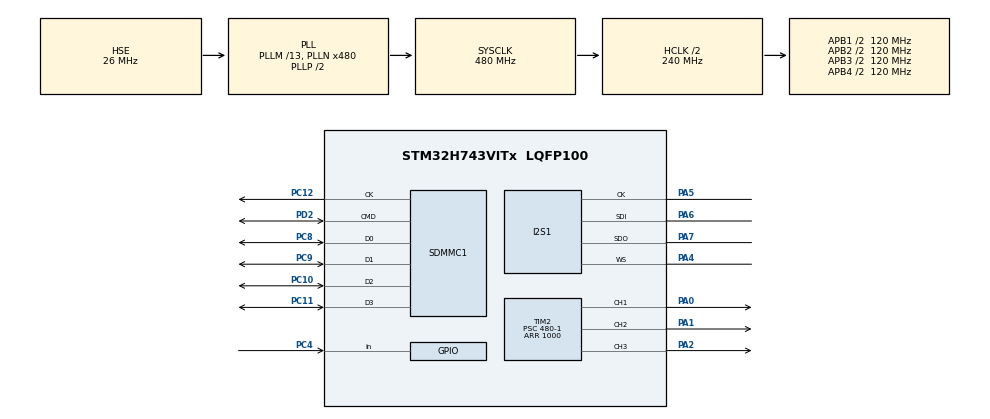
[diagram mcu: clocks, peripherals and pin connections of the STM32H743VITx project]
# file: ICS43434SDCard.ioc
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CORTEX_M7.default_mode_Activation=1
Dma.Request0=SPI1_RX
Dma.SPI1_RX.0.Direction=DMA_PERIPH_TO_MEMORY
Dma.SPI1_RX.0.EventEnable=DISABLE
Dma.SPI1_RX.0.FIFOMode=DMA_FIFOMODE_DISABLE
Dma.SPI1_RX.0.Instance=DMA1_Stream0
Dma.SPI1_RX.0.MemDataAlignment=DMA_MDATAALIGN_HALFWORD
Dma.SPI1_RX.0.MemInc=DMA_MINC_ENABLE
Dma.SPI1_RX.0.Mode=DMA_CIRCULAR
Dma.SPI1_RX.0.PeriphDataAlignment=DMA_PDATAALIGN_HALFWORD
Dma.SPI1_RX.0.PeriphInc=DMA_PINC_DISABLE
Dma.SPI1_RX.0.Polarity=HAL_DMAMUX_REQ_GEN_RISING
Dma.SPI1_RX.0.Priority=DMA_PRIORITY_LOW
Dma.SPI1_RX.0.RequestNumber=1
Dma.SPI1_RX.0.SignalID=NONE
Dma.SPI1_RX.0.SyncEnable=DISABLE
Dma.SPI1_RX.0.SyncPolarity=HAL_DMAMUX_SYNC_NO_EVENT
Dma.SPI1_RX.0.SyncRequestNumber=1
Dma.SPI1_RX.0.SyncSignalID=NONE
FATFS.BSP.number=1
FATFS.USE_DMA_CODE_SD=1
FATFS0.BSP.STBoard=false
FATFS0.BSP.api=Unknown
FATFS0.BSP.instance=PC4
FATFS0.BSP.ip=GPIO
FATFS0.BSP.mode=Input
FATFS0.BSP.name=Detect_SDIO
FATFS0.BSP.solution=PC4
I2S1.AudioFreq=I2S_AUDIOFREQ_48K
I2S1.ErrorAudioFreq=0.8 %
I2S1.Instance=SPI$Index
I2S1.RealAudioFreq=48.387 KHz
Mcu.Family=STM32H7
Mcu.Name=STM32H743VITx
Mcu.Package=LQFP100
NVIC.DMA1_Stream0_IRQn=true\:0\:0\:false\:false\:true\:false\:true\:true
NVIC.PriorityGroup=NVIC_PRIORITYGROUP_4
NVIC.SDMMC1_IRQn=true\:0\:0\:false\:false\:true\:true\:true\:true
PA0.Signal=S_TIM2_CH1_ETR
PA1.Signal=S_TIM2_CH2
PA2.Signal=S_TIM2_CH3
PA4.Mode=Full_Duplex_Master
PA4.Signal=I2S1_WS
PA5.Mode=Full_Duplex_Master
PA5.Signal=I2S1_CK
PA6.Mode=Full_Duplex_Master
PA6.Signal=I2S1_SDI
PA7.Mode=Full_Duplex_Master
PA7.Signal=I2S1_SDO
PC10.GPIO_PuPd=GPIO_PULLUP
PC10.GPIO_Speed_High_Default=GPIO_SPEED_FREQ_LOW
PC10.Mode=SD_4_bits_Wide_bus
PC10.Signal=SDMMC1_D2
PC11.GPIO_PuPd=GPIO_PULLUP
PC11.GPIO_Speed_High_Default=GPIO_SPEED_FREQ_LOW
PC11.Mode=SD_4_bits_Wide_bus
PC11.Signal=SDMMC1_D3
PC12.GPIO_Speed_High_Default=GPIO_SPEED_FREQ_LOW
PC12.Mode=SD_4_bits_Wide_bus
PC12.Signal=SDMMC1_CK
PC4.Signal=GPIO_Input
PC8.GPIO_PuPd=GPIO_PULLUP
PC8.GPIO_Speed_High_Default=GPIO_SPEED_FREQ_LOW
PC8.Mode=SD_4_bits_Wide_bus
PC8.Signal=SDMMC1_D0
PC9.GPIO_PuPd=GPIO_PULLUP
PC9.GPIO_Speed_High_Default=GPIO_SPEED_FREQ_LOW
PC9.Mode=SD_4_bits_Wide_bus
PC9.Signal=SDMMC1_D1
PD2.GPIO_PuPd=GPIO_PULLUP
PD2.GPIO_Speed_High_Default=GPIO_SPEED_FREQ_LOW
PD2.Mode=SD_4_bits_Wide_bus
PD2.Signal=SDMMC1_CMD
PH0-OSC_IN\ (PH0).Mode=HSE-External-Clock-Source
PH0-OSC_IN\ (PH0).Signal=RCC_OSC_IN
ProjectManager.HeapSize=0x200
ProjectManager.StackSize=0x400
ProjectManager.TargetToolchain=STM32CubeIDE
RCC.ADCFreq_Value=480000000
RCC.APB1Freq_Value=120000000
RCC.APB2Freq_Value=120000000
RCC.APB3Freq_Value=120000000
RCC.APB4Freq_Value=120000000
RCC.CortexFreq_Value=480000000
RCC.D1PPRE=RCC_APB3_DIV2
RCC.D2PPRE1=RCC_APB1_DIV2
RCC.D2PPRE2=RCC_APB2_DIV2
RCC.D3PPRE=RCC_APB4_DIV2
RCC.DIVM1=13
RCC.DIVM2=13
RCC.DIVN1=480
RCC.DIVN2=480
RCC.DIVQ1=20
RCC.HCLKFreq_Value=240000000
RCC.HPRE=RCC_HCLK_DIV2
RCC.HSE_VALUE=26000000
RCC.PLL2FRACN=0
RCC.PLL3FRACN=0
RCC.PLLFRACN=0
RCC.PLLSourceVirtual=RCC_PLLSOURCE_HSE
RCC.SYSCLKFreq_VALUE=480000000
RCC.SYSCLKSource=RCC_SYSCLKSOURCE_PLLCLK
RCC.USBFreq_Value=48000000
SDMMC1.ClockDiv=2
SH.S_TIM2_CH1_ETR.0=TIM2_CH1,PWM Generation1 CH1
SH.S_TIM2_CH2.0=TIM2_CH2,PWM Generation2 CH2
SH.S_TIM2_CH3.0=TIM2_CH3,PWM Generation3 CH3
TIM2.Channel-PWM\ Generation1\ CH1=TIM_CHANNEL_1
TIM2.Channel-PWM\ Generation2\ CH2=TIM_CHANNEL_2
TIM2.Channel-PWM\ Generation3\ CH3=TIM_CHANNEL_3
TIM2.Period=1000
TIM2.Prescaler=480-1
VP_FATFS_VS_SDIO.Mode=SDIO
VP_MEMORYMAP_VS_MEMORYMAP.Mode=CurAppReg
board=custom

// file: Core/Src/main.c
/* USER CODE BEGIN Header */
/**
  ******************************************************************************
  * @file           : main.c
  * @brief          : Main program body
  ******************************************************************************
  * @attention
  *
  * Copyright (c) 2025 STMicroelectronics.
  * All rights reserved.
  *
  * This software is licensed under terms that can be found in the LICENSE file
  * in the root directory of this software component.
  * If no LICENSE file comes with this software, it is provided AS-IS.
  *
  ******************************************************************************
  */
/* USER CODE END Header */
#include "main.h"
#include "fatfs.h"
#include <string.h>

I2S_HandleTypeDef hi2s1;
DMA_HandleTypeDef hdma_spi1_rx;

SD_HandleTypeDef hsd1;

TIM_HandleTypeDef htim2;

/* USER CODE BEGIN PV */
#define AUDIO_BUFFER_SIZE 512
int16_t audio_buffer[AUDIO_BUFFER_SIZE];

FATFS fs;
FIL file;
UINT bytesWritten;
char filename[] = "record.raw";

uint32_t audio_level = 0;

extern FATFS SDFatFS;     /* File system object */
extern FIL SDFile;        /* File object */
FRESULT res;       /* FatFs function result code */
UINT byteswritten, bytesread; /* File write/read counts */
uint8_t wtext[] = "STM32 FATFS works great!"; /* File write buffer */
uint8_t rtext[_MAX_SS]; /* File read buffer */
/* USER CODE END PV */

void SystemClock_Config(void);
static void MPU_Config(void);
static void MX_GPIO_Init(void);
static void MX_DMA_Init(void);
static void MX_I2S1_Init(void);
static void MX_SDMMC1_SD_Init(void);
static void MX_TIM2_Init(void);

int main(void)
{

  /* MPU Configuration--------------------------------------------------------*/
  MPU_Config();

  /* MCU Configuration--------------------------------------------------------*/

  /* Reset of all peripherals, Initializes the Flash interface and the Systick. */
  HAL_Init();

  /* Configure the system clock */
  SystemClock_Config();

  /* Initialize all configured peripherals */
  MX_GPIO_Init();
  MX_DMA_Init();
  MX_I2S1_Init();
  MX_SDMMC1_SD_Init();
  MX_TIM2_Init();
  MX_FATFS_Init();
  /* USER CODE BEGIN 2 */
  // Khởi động LED PWM
  HAL_TIM_PWM_Start(&htim2, TIM_CHANNEL_1);
  HAL_TIM_PWM_Start(&htim2, TIM_CHANNEL_2);
  HAL_TIM_PWM_Start(&htim2, TIM_CHANNEL_3);

  // Khởi động DMA nhận tín hiệu I2S từ ICS-43434
  if (HAL_I2S_Receive_DMA(&hi2s1, (uint16_t *)audio_buffer, AUDIO_BUFFER_SIZE) != HAL_OK)
  {
      Error_Handler();
  }

  /* --- Kiểm tra SD Card và FATFS --- */
  if(f_mount(&SDFatFS, (TCHAR const*)SDPath, 0) != FR_OK)
  {
      Error_Handler(); // Không mount được thẻ
  }
  else
  {
      // Tạo hệ thống file nếu chưa có
      if(f_mkfs((TCHAR const*)SDPath, FM_ANY, 0, rtext, sizeof(rtext)) != FR_OK)
      {
          Error_Handler();
      }
      else
      {
          // Tạo file mới để ghi
          if(f_open(&SDFile, "STM32.TXT", FA_CREATE_ALWAYS | FA_WRITE) != FR_OK)
          {
              Error_Handler();
          }
          else
          {
              // Ghi dữ liệu test vào file
              res = f_write(&SDFile, wtext, strlen((char *)wtext), (void *)&byteswritten);
              if((byteswritten == 0) || (res != FR_OK))
              {
                  Error_Handler();
              }
              else
              {
                  f_close(&SDFile); // Đóng file
              }
          }
      }
  }
  // Dỡ mount thẻ
  f_mount(&SDFatFS, (TCHAR const*)NULL, 0);
  /* USER CODE END 2 */

  /* Infinite loop */
  /* USER CODE BEGIN WHILE */
  /* USER CODE BEGIN WHILE */
  while (1)
  {
      // ---- Đổi kênh SEL ----
      static uint32_t last_toggle_time = 0;
      static uint8_t sel_state = 0;
      if (HAL_GetTick() - last_toggle_time > 500) // đổi kênh mỗi 500 ms
      {
          sel_state = !sel_state;
          HAL_GPIO_WritePin(GPIOA, GPIO_PIN_7, sel_state ? GPIO_PIN_SET : GPIO_PIN_RESET);
          last_toggle_time = HAL_GetTick();
      }

      // ---- Tính mức âm thanh ----
      uint64_t sum = 0;
      for (int i = 0; i < AUDIO_BUFFER_SIZE; i++)
          sum += abs(audio_buffer[i]);
      audio_level = sum / AUDIO_BUFFER_SIZE;

      if (audio_level > 1000) audio_level = 1000;

      // ---- LED RGB theo mức âm ----
      if (audio_level < 200)
      {
          __HAL_TIM_SET_COMPARE(&htim2, TIM_CHANNEL_1, 0);
          __HAL_TIM_SET_COMPARE(&htim2, TIM_CHANNEL_2, 0);
          __HAL_TIM_SET_COMPARE(&htim2, TIM_CHANNEL_3, audio_level);
      }
      else if (audio_level < 600)
      {
          __HAL_TIM_SET_COMPARE(&htim2, TIM_CHANNEL_1, audio_level / 2);
          __HAL_TIM_SET_COMPARE(&htim2, TIM_CHANNEL_2, 0);
          __HAL_TIM_SET_COMPARE(&htim2, TIM_CHANNEL_3, audio_level / 2);
      }
      else
      {
          __HAL_TIM_SET_COMPARE(&htim2, TIM_CHANNEL_1, audio_level);
          __HAL_TIM_SET_COMPARE(&htim2, TIM_CHANNEL_2, 0);
          __HAL_TIM_SET_COMPARE(&htim2, TIM_CHANNEL_3, 0);
      }

      HAL_Delay(50);

    /* USER CODE END WHILE */
  }
}

void SystemClock_Config(void)
{
  RCC_OscInitTypeDef RCC_OscInitStruct = {0};
  RCC_ClkInitTypeDef RCC_ClkInitStruct = {0};

  /** Supply configuration update enable
  */
  HAL_PWREx_ConfigSupply(PWR_LDO_SUPPLY);

  /** Configure the main internal regulator output voltage
  */
  __HAL_PWR_VOLTAGESCALING_CONFIG(PWR_REGULATOR_VOLTAGE_SCALE0);

  while(!__HAL_PWR_GET_FLAG(PWR_FLAG_VOSRDY)) {}

  /** Initializes the RCC Oscillators according to the specified parameters
  * in the RCC_OscInitTypeDef structure.
  */
  RCC_OscInitStruct.OscillatorType = RCC_OSCILLATORTYPE_HSE;
  RCC_OscInitStruct.HSEState = RCC_HSE_BYPASS;
  RCC_OscInitStruct.PLL.PLLState = RCC_PLL_ON;
  RCC_OscInitStruct.PLL.PLLSource = RCC_PLLSOURCE_HSE;
  RCC_OscInitStruct.PLL.PLLM = 13;
  RCC_OscInitStruct.PLL.PLLN = 480;
  RCC_OscInitStruct.PLL.PLLP = 2;
  RCC_OscInitStruct.PLL.PLLQ = 20;
  RCC_OscInitStruct.PLL.PLLR = 2;
  RCC_OscInitStruct.PLL.PLLRGE = RCC_PLL1VCIRANGE_1;
  RCC_OscInitStruct.PLL.PLLVCOSEL = RCC_PLL1VCOWIDE;
  RCC_OscInitStruct.PLL.PLLFRACN = 0;
  if (HAL_RCC_OscConfig(&RCC_OscInitStruct) != HAL_OK)
  {
    Error_Handler();
  }

  /** Initializes the CPU, AHB and APB buses clocks
  */
  RCC_ClkInitStruct.ClockType = RCC_CLOCKTYPE_HCLK|RCC_CLOCKTYPE_SYSCLK
                              |RCC_CLOCKTYPE_PCLK1|RCC_CLOCKTYPE_PCLK2
                              |RCC_CLOCKTYPE_D3PCLK1|RCC_CLOCKTYPE_D1PCLK1;
  RCC_ClkInitStruct.SYSCLKSource = RCC_SYSCLKSOURCE_PLLCLK;
  RCC_ClkInitStruct.SYSCLKDivider = RCC_SYSCLK_DIV1;
  RCC_ClkInitStruct.AHBCLKDivider = RCC_HCLK_DIV2;
  RCC_ClkInitStruct.APB3CLKDivider = RCC_APB3_DIV2;
  RCC_ClkInitStruct.APB1CLKDivider = RCC_APB1_DIV2;
  RCC_ClkInitStruct.APB2CLKDivider = RCC_APB2_DIV2;
  RCC_ClkInitStruct.APB4CLKDivider = RCC_APB4_DIV2;

  if (HAL_RCC_ClockConfig(&RCC_ClkInitStruct, FLASH_LATENCY_4) != HAL_OK)
  {
    Error_Handler();
  }
}

static void MX_I2S1_Init(void)
{

  hi2s1.Instance = SPI1;
  hi2s1.Init.Mode = I2S_MODE_MASTER_FULLDUPLEX;
  hi2s1.Init.Standard = I2S_STANDARD_PHILIPS;
  hi2s1.Init.DataFormat = I2S_DATAFORMAT_16B;
  hi2s1.Init.MCLKOutput = I2S_MCLKOUTPUT_DISABLE;
  hi2s1.Init.AudioFreq = I2S_AUDIOFREQ_48K;
  hi2s1.Init.CPOL = I2S_CPOL_LOW;
  hi2s1.Init.FirstBit = I2S_FIRSTBIT_MSB;
  hi2s1.Init.WSInversion = I2S_WS_INVERSION_DISABLE;
  hi2s1.Init.Data24BitAlignment = I2S_DATA_24BIT_ALIGNMENT_RIGHT;
  hi2s1.Init.MasterKeepIOState = I2S_MASTER_KEEP_IO_STATE_DISABLE;
  if (HAL_I2S_Init(&hi2s1) != HAL_OK)
  {
    Error_Handler();
  }

}

static void MX_SDMMC1_SD_Init(void)
{

  hsd1.Instance = SDMMC1;
  hsd1.Init.ClockEdge = SDMMC_CLOCK_EDGE_RISING;
  hsd1.Init.ClockPowerSave = SDMMC_CLOCK_POWER_SAVE_DISABLE;
  hsd1.Init.BusWide = SDMMC_BUS_WIDE_4B;
  hsd1.Init.HardwareFlowControl = SDMMC_HARDWARE_FLOW_CONTROL_DISABLE;
  hsd1.Init.ClockDiv = 2;

}

static void MX_TIM2_Init(void)
{

  TIM_MasterConfigTypeDef sMasterConfig = {0};
  TIM_OC_InitTypeDef sConfigOC = {0};

  htim2.Instance = TIM2;
  htim2.Init.Prescaler = 480-1;
  htim2.Init.CounterMode = TIM_COUNTERMODE_UP;
  htim2.Init.Period = 1000;
  htim2.Init.ClockDivision = TIM_CLOCKDIVISION_DIV1;
  htim2.Init.AutoReloadPreload = TIM_AUTORELOAD_PRELOAD_DISABLE;
  if (HAL_TIM_PWM_Init(&htim2) != HAL_OK)
  {
    Error_Handler();
  }
  sMasterConfig.MasterOutputTrigger = TIM_TRGO_RESET;
  sMasterConfig.MasterSlaveMode = TIM_MASTERSLAVEMODE_DISABLE;
  if (HAL_TIMEx_MasterConfigSynchronization(&htim2, &sMasterConfig) != HAL_OK)
  {
    Error_Handler();
  }
  sConfigOC.OCMode = TIM_OCMODE_PWM1;
  sConfigOC.Pulse = 0;
  sConfigOC.OCPolarity = TIM_OCPOLARITY_HIGH;
  sConfigOC.OCFastMode = TIM_OCFAST_DISABLE;
  if (HAL_TIM_PWM_ConfigChannel(&htim2, &sConfigOC, TIM_CHANNEL_1) != HAL_OK)
  {
    Error_Handler();
  }
  if (HAL_TIM_PWM_ConfigChannel(&htim2, &sConfigOC, TIM_CHANNEL_2) != HAL_OK)
  {
    Error_Handler();
  }
  if (HAL_TIM_PWM_ConfigChannel(&htim2, &sConfigOC, TIM_CHANNEL_3) != HAL_OK)
  {
    Error_Handler();
  }
  HAL_TIM_MspPostInit(&htim2);

}

static void MX_DMA_Init(void)
{

  /* DMA controller clock enable */
  __HAL_RCC_DMA1_CLK_ENABLE();

  /* DMA interrupt init */
  /* DMA1_Stream0_IRQn interrupt configuration */
  HAL_NVIC_SetPriority(DMA1_Stream0_IRQn, 0, 0);
  HAL_NVIC_EnableIRQ(DMA1_Stream0_IRQn);

}

static void MX_GPIO_Init(void)
{
  GPIO_InitTypeDef GPIO_InitStruct = {0};

  /* GPIO Ports Clock Enable */
  __HAL_RCC_GPIOH_CLK_ENABLE();
  __HAL_RCC_GPIOA_CLK_ENABLE();
  __HAL_RCC_GPIOC_CLK_ENABLE();
  __HAL_RCC_GPIOD_CLK_ENABLE();

  /*Configure GPIO pin : PC4 */
  GPIO_InitStruct.Pin = GPIO_PIN_4;
  GPIO_InitStruct.Mode = GPIO_MODE_INPUT;
  GPIO_InitStruct.Pull = GPIO_NOPULL;
  HAL_GPIO_Init(GPIOC, &GPIO_InitStruct);

  /* USER CODE BEGIN MX_GPIO_Init_2 */
  GPIO_InitStruct.Pin = GPIO_PIN_7;
  GPIO_InitStruct.Mode = GPIO_MODE_OUTPUT_PP;
  GPIO_InitStruct.Pull = GPIO_NOPULL;
  GPIO_InitStruct.Speed = GPIO_SPEED_FREQ_LOW;
  HAL_GPIO_Init(GPIOA, &GPIO_InitStruct);
  /* USER CODE END MX_GPIO_Init_2 */
}

 /* MPU Configuration */

void MPU_Config(void)
{
  MPU_Region_InitTypeDef MPU_InitStruct = {0};

  /* Disables the MPU */
  HAL_MPU_Disable();

  /** Initializes and configures the Region and the memory to be protected
  */
  MPU_InitStruct.Enable = MPU_REGION_ENABLE;
  MPU_InitStruct.Number = MPU_REGION_NUMBER0;
  MPU_InitStruct.BaseAddress = 0x0;
  MPU_InitStruct.Size = MPU_REGION_SIZE_4GB;
  MPU_InitStruct.SubRegionDisable = 0x87;
  MPU_InitStruct.TypeExtField = MPU_TEX_LEVEL0;
  MPU_InitStruct.AccessPermission = MPU_REGION_NO_ACCESS;
  MPU_InitStruct.DisableExec = MPU_INSTRUCTION_ACCESS_DISABLE;
  MPU_InitStruct.IsShareable = MPU_ACCESS_SHAREABLE;
  MPU_InitStruct.IsCacheable = MPU_ACCESS_NOT_CACHEABLE;
  MPU_InitStruct.IsBufferable = MPU_ACCESS_NOT_BUFFERABLE;

  HAL_MPU_ConfigRegion(&MPU_InitStruct);
  /* Enables the MPU */
  HAL_MPU_Enable(MPU_PRIVILEGED_DEFAULT);

}

void Error_Handler(void)
{
  __disable_irq();
  while (1)
  {
  }
}
